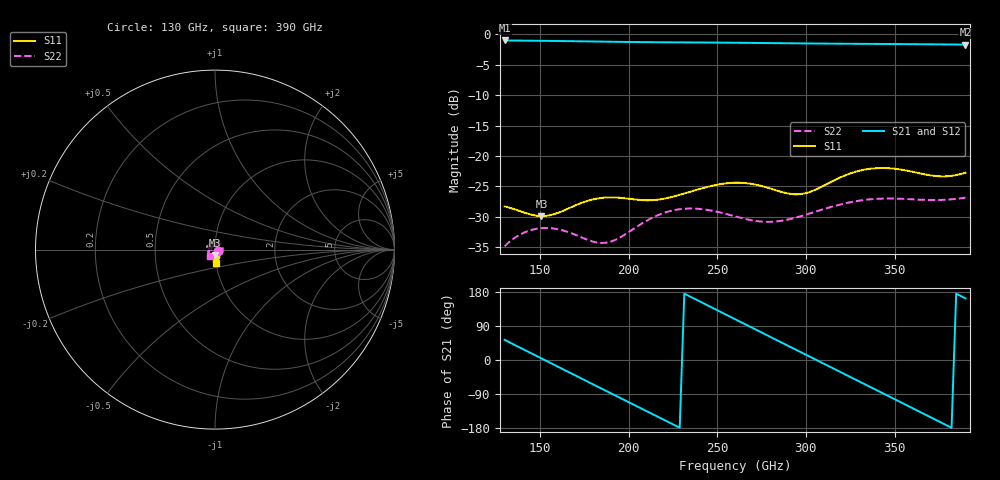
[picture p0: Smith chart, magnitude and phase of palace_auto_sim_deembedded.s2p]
! Created with skrf 1.11.0 (http://scikit-rf.org).
# GHz S DB R 50.0
!freq dBS11 angS11 dBS21 angS21 dBS12 angS12 dBS22 angS22
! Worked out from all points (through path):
!   101 points, 130 GHz to 390 GHz, reference 50 ohm
!   highest |S21| = -1.01 dB at 130 GHz (marker M1); lowest = -1.7 dB at 390 GHz (marker M2)
!   group delay of S21, straight-line fit = 6.52 ps
!   lowest |S11| = -29.9 dB at 150.8 GHz (marker M3), VSWR 1.07, Z = 49.9 - j3.2 ohm
!   |S11| at or under -10 dB: start of sweep to end of sweep
!   |S22| runs from -34.8 to -26.9 dB; largest |S21 - S12| = 9.8e-14
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130  -28.30 -92.8  -1.01 53.1  -1.01 53.1  -34.85 -24.9
140.4  -29.26 -95.4  -1.04 28.7  -1.04 28.7  -32.68 -53.7
150.8  -29.90 -89.9  -1.07 4.2  -1.07 4.2  -31.88 -85.4
161.2  -29.25 -82.5  -1.10 -20.3  -1.10 -20.3  -32.13 -121.3
174.2  -27.65 -81.9  -1.15 -50.8  -1.15 -50.8  -33.49 -176.3
184.6  -26.91 -86.4  -1.19 -75.3  -1.19 -75.3  -34.32 127.9
195  -26.88 -90.6  -1.24 -99.6  -1.24 -99.6  -33.44 68.1
205.4  -27.22 -91.0  -1.27 -124.0  -1.27 -124.0  -31.50 15.4
218.4  -27.12 -86.4  -1.31 -154.4  -1.31 -154.4  -29.53 -41.4
228.8  -26.40 -83.5  -1.32 -178.8  -1.32 -178.8  -28.76 -84.0
239.2  -25.51 -83.6  -1.34 156.8  -1.34 156.8  -28.70 -126.8
260  -24.41 -91.4  -1.39 107.9  -1.39 107.9  -29.94 141.1
270.4  -24.65 -96.1  -1.41 83.4  -1.41 83.4  -30.64 89.3
280.8  -25.44 -97.4  -1.44 59.0  -1.44 59.0  -30.84 34.6
293.8  -26.32 -89.8  -1.48 28.5  -1.48 28.5  -30.19 -33.3
304.2  -25.71 -80.1  -1.51 4.1  -1.51 4.1  -29.28 -84.7
317.2  -23.84 -76.5  -1.54 -26.4  -1.54 -26.4  -28.15 -145.4
330.2  -22.43 -81.5  -1.56 -56.8  -1.56 -56.8  -27.35 156.0
348.4  -22.06 -91.4  -1.59 -99.5  -1.59 -99.5  -27.01 74.3
358.8  -22.52 -94.6  -1.62 -123.9  -1.62 -123.9  -27.12 26.3
371.8  -23.26 -92.6  -1.64 -154.4  -1.64 -154.4  -27.26 -35.9
390  -22.78 -83.7  -1.69 162.8  -1.69 162.8  -26.87 -124.8
